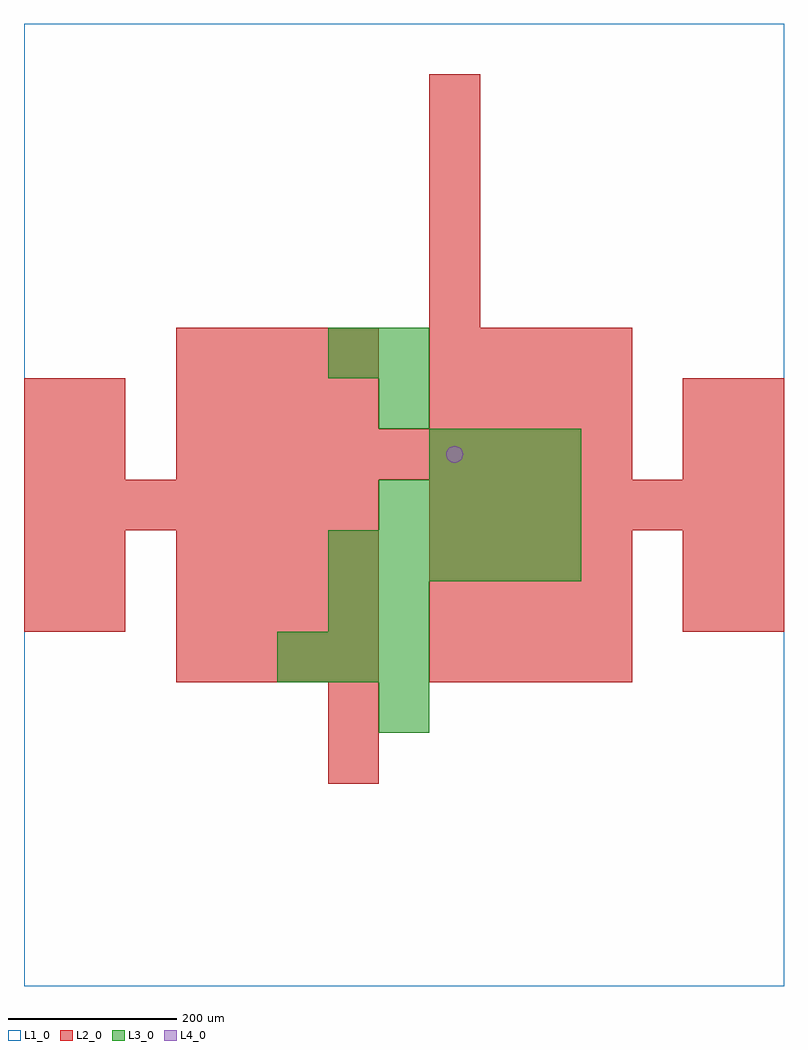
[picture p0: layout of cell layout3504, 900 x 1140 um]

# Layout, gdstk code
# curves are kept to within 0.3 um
import gdstk
lib = gdstk.Library(unit=1e-6, precision=1e-09)
def R(c, l, rs):  # rectangles x0, y0, x1, y1
    for r in rs: c.add(gdstk.rectangle(r[:2], r[2:], *l))
def A(c, l, x, y, w, h, nx, ny, dx, dy):  # array of equal rectangles
    R(c, l, [(x+i*dx, y+j*dy, x+i*dx+w, y+j*dy+h) for i in range(nx) for j in range(ny)])
def P(c, l, *ps):  # polygons
    for p in ps: c.add(gdstk.Polygon(p, *l))
L1_0 = (1, 0)
L2_0 = (2, 0)
L3_0 = (3, 0)
L4_0 = (4, 0)

layout3504 = lib.new_cell('layout3504')
R(layout3504, L1_0, [(0,0,900,1140)])
A(layout3504, L2_0, 180, 360, 60, 60, 4, 3, 60, 60)
A(layout3504, L2_0, 480, 360, 60, 60, 4, 3, 60, 60)
A(layout3504, L2_0, 0, 540, 60, 60, 7, 1, 60, 0)
A(layout3504, L2_0, 480, 540, 60, 60, 7, 1, 60, 0)
A(layout3504, L2_0, 180, 600, 60, 60, 9, 1, 60, 0)
A(layout3504, L2_0, 180, 660, 60, 60, 4, 2, 60, 60)
A(layout3504, L2_0, 480, 660, 60, 60, 4, 2, 60, 60)
A(layout3504, L2_0, 480, 780, 60, 60, 1, 5, 0, 60)
R(layout3504, L2_0, [(360,240,420,300), (360,300,420,360), (0,420,60,480), (60,420,120,480), (780,420,840,480), (840,420,900,480), (0,480,60,540), (60,480,120,540), (780,480,840,540), (840,480,900,540), (0,600,60,660), (60,600,120,660), (780,600,840,660), (840,600,900,660), (0,660,60,720), (60,660,120,720), (780,660,840,720), (840,660,900,720)])
A(layout3504, L3_0, 300, 360, 60, 60, 3, 1, 60, 0)
A(layout3504, L3_0, 360, 480, 60, 60, 5, 1, 60, 0)
A(layout3504, L3_0, 420, 540, 60, 60, 4, 1, 60, 0)
A(layout3504, L3_0, 480, 600, 60, 60, 3, 1, 60, 0)
R(layout3504, L3_0, [(420,300,480,360), (360,420,420,480), (420,420,480,480), (420,660,480,720), (360,720,420,780), (420,720,480,780)])
P(layout3504, L4_0, [(520,630),(519.239,633.827),(517.071,637.071),(513.827,639.239),(510,640),(506.173,639.239),(502.929,637.071),(500.761,633.827),(500,630),(500.761,626.173),(502.929,622.929),(506.173,620.761),(510,620),(513.827,620.761),(517.071,622.929),(519.239,626.173)])

lib.write_gds('layout3504.gds')
